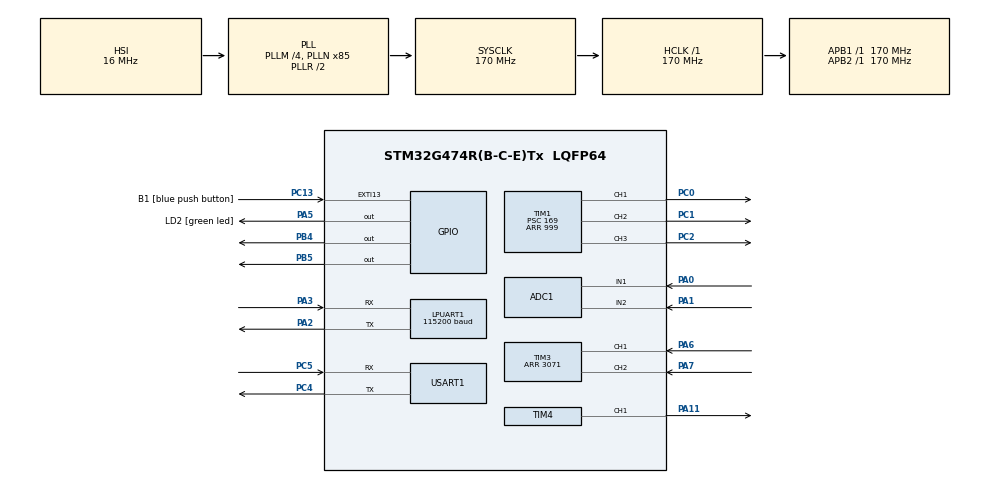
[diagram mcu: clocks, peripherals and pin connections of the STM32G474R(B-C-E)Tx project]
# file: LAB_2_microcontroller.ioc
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ADC1.Channel-0\#ChannelRegularConversion=ADC_CHANNEL_1
ADC1.Channel-1\#ChannelRegularConversion=ADC_CHANNEL_2
ADC1.ContinuousConvMode=ENABLE
ADC1.DMAContinuousRequests=ENABLE
ADC1.NbrOfConversion=2
ADC1.NbrOfConversionFlag=1
ADC1.OffsetNumber-0\#ChannelRegularConversion=ADC_OFFSET_NONE
ADC1.OffsetNumber-1\#ChannelRegularConversion=ADC_OFFSET_NONE
ADC1.Rank-0\#ChannelRegularConversion=1
ADC1.Rank-1\#ChannelRegularConversion=2
ADC1.SamplingTime-0\#ChannelRegularConversion=ADC_SAMPLETIME_640CYCLES_5
ADC1.SamplingTime-1\#ChannelRegularConversion=ADC_SAMPLETIME_640CYCLES_5
ADC1.master=1
ARM.CMSIS-DSP.1.15.0.CMSISJjDSP=Source
ARM.CMSIS.6.0.0.CMSISJjCORE=true
Dma.ADC1.0.Direction=DMA_PERIPH_TO_MEMORY
Dma.ADC1.0.EventEnable=DISABLE
Dma.ADC1.0.Instance=DMA1_Channel1
Dma.ADC1.0.MemDataAlignment=DMA_MDATAALIGN_HALFWORD
Dma.ADC1.0.MemInc=DMA_MINC_ENABLE
Dma.ADC1.0.Mode=DMA_CIRCULAR
Dma.ADC1.0.PeriphDataAlignment=DMA_PDATAALIGN_HALFWORD
Dma.ADC1.0.PeriphInc=DMA_PINC_DISABLE
Dma.ADC1.0.Polarity=HAL_DMAMUX_REQ_GEN_RISING
Dma.ADC1.0.Priority=DMA_PRIORITY_LOW
Dma.ADC1.0.RequestNumber=1
Dma.ADC1.0.SignalID=NONE
Dma.ADC1.0.SyncEnable=DISABLE
Dma.ADC1.0.SyncPolarity=HAL_DMAMUX_SYNC_NO_EVENT
Dma.ADC1.0.SyncRequestNumber=1
Dma.ADC1.0.SyncSignalID=NONE
Dma.LPUART1_RX.1.Direction=DMA_PERIPH_TO_MEMORY
Dma.LPUART1_RX.1.EventEnable=DISABLE
Dma.LPUART1_RX.1.Instance=DMA1_Channel2
Dma.LPUART1_RX.1.MemDataAlignment=DMA_MDATAALIGN_BYTE
Dma.LPUART1_RX.1.MemInc=DMA_MINC_ENABLE
Dma.LPUART1_RX.1.Mode=DMA_CIRCULAR
Dma.LPUART1_RX.1.PeriphDataAlignment=DMA_PDATAALIGN_BYTE
Dma.LPUART1_RX.1.PeriphInc=DMA_PINC_DISABLE
Dma.LPUART1_RX.1.Polarity=HAL_DMAMUX_REQ_GEN_RISING
Dma.LPUART1_RX.1.Priority=DMA_PRIORITY_LOW
Dma.LPUART1_RX.1.RequestNumber=1
Dma.LPUART1_RX.1.SignalID=NONE
Dma.LPUART1_RX.1.SyncEnable=DISABLE
Dma.LPUART1_RX.1.SyncPolarity=HAL_DMAMUX_SYNC_NO_EVENT
Dma.LPUART1_RX.1.SyncRequestNumber=1
Dma.LPUART1_RX.1.SyncSignalID=NONE
Dma.LPUART1_TX.2.Direction=DMA_MEMORY_TO_PERIPH
Dma.LPUART1_TX.2.EventEnable=DISABLE
Dma.LPUART1_TX.2.Instance=DMA1_Channel3
Dma.LPUART1_TX.2.MemDataAlignment=DMA_MDATAALIGN_BYTE
Dma.LPUART1_TX.2.MemInc=DMA_MINC_ENABLE
Dma.LPUART1_TX.2.Mode=DMA_NORMAL
Dma.LPUART1_TX.2.PeriphDataAlignment=DMA_PDATAALIGN_BYTE
Dma.LPUART1_TX.2.PeriphInc=DMA_PINC_DISABLE
Dma.LPUART1_TX.2.Polarity=HAL_DMAMUX_REQ_GEN_RISING
Dma.LPUART1_TX.2.Priority=DMA_PRIORITY_LOW
Dma.LPUART1_TX.2.RequestNumber=1
Dma.LPUART1_TX.2.SignalID=NONE
Dma.LPUART1_TX.2.SyncEnable=DISABLE
Dma.LPUART1_TX.2.SyncPolarity=HAL_DMAMUX_SYNC_NO_EVENT
Dma.LPUART1_TX.2.SyncRequestNumber=1
Dma.LPUART1_TX.2.SyncSignalID=NONE
Dma.Request0=ADC1
Dma.Request1=LPUART1_RX
Dma.Request2=LPUART1_TX
LPUART1.BaudRate=115200
Mcu.Family=STM32G4
Mcu.Name=STM32G474R(B-C-E)Tx
Mcu.Package=LQFP64
NVIC.ADC1_2_IRQn=true\:0\:0\:false\:false\:true\:true\:true\:true
NVIC.DMA1_Channel1_IRQn=true\:0\:0\:false\:false\:true\:false\:true\:true
NVIC.DMA1_Channel2_IRQn=true\:0\:0\:false\:false\:true\:false\:true\:true
NVIC.DMA1_Channel3_IRQn=true\:0\:0\:false\:false\:true\:false\:true\:true
NVIC.EXTI15_10_IRQn=true\:0\:0\:false\:false\:true\:true\:true\:true
NVIC.LPUART1_IRQn=true\:0\:0\:false\:false\:true\:true\:true\:true
NVIC.PriorityGroup=NVIC_PRIORITYGROUP_4
NVIC.TIM4_IRQn=true\:0\:0\:false\:false\:true\:true\:true\:true
NVIC.TIM5_IRQn=true\:0\:0\:false\:false\:true\:true\:true\:true
PA0.Mode=IN1-Single-Ended
PA0.Signal=ADC1_IN1
PA1.Mode=IN2-Single-Ended
PA1.Signal=ADC1_IN2
PA11.Signal=S_TIM4_CH1
PA13.GPIO_Label=T_SWDIO
PA13.Mode=Serial_Wire
PA13.Signal=SYS_JTMS-SWDIO
PA14.GPIO_Label=T_SWCLK
PA14.Mode=Serial_Wire
PA14.Signal=SYS_JTCK-SWCLK
PA2.GPIO_Mode=GPIO_MODE_AF_PP
PA2.GPIO_PuPd=GPIO_NOPULL
PA2.GPIO_Speed=GPIO_SPEED_FREQ_LOW
PA2.Mode=Asynchronous
PA2.Signal=LPUART1_TX
PA3.GPIO_Mode=GPIO_MODE_AF_PP
PA3.GPIO_PuPd=GPIO_NOPULL
PA3.GPIO_Speed=GPIO_SPEED_FREQ_LOW
PA3.Mode=Asynchronous
PA3.Signal=LPUART1_RX
PA5.GPIO_Label=LD2 [green led]
PA5.Signal=GPIO_Output
PA6.Signal=S_TIM3_CH1
PA7.Signal=S_TIM3_CH2
PB3.GPIO_Label=T_SWO
PB3.Signal=SYS_JTDO-SWO
PB4.Signal=GPIO_Output
PB5.Signal=GPIO_Output
PC0.Signal=S_TIM1_CH1
PC1.Signal=S_TIM1_CH2
PC13.GPIO_Label=B1 [blue push button]
PC13.Signal=GPXTI13
PC14-OSC32_IN.Mode=LSE-External-Oscillator
PC14-OSC32_IN.Signal=RCC_OSC32_IN
PC15-OSC32_OUT.Mode=LSE-External-Oscillator
PC15-OSC32_OUT.Signal=RCC_OSC32_OUT
PC2.Signal=S_TIM1_CH3
PC4.Mode=Asynchronous
PC4.Signal=USART1_TX
PC5.Mode=Asynchronous
PC5.Signal=USART1_RX
PF0-OSC_IN.Mode=HSE-External-Oscillator
PF0-OSC_IN.Signal=RCC_OSC_IN
PF1-OSC_OUT.Mode=HSE-External-Oscillator
PF1-OSC_OUT.Signal=RCC_OSC_OUT
ProjectManager.HeapSize=0x200
ProjectManager.StackSize=0x400
ProjectManager.TargetToolchain=STM32CubeIDE
RCC.ADC12Freq_Value=170000000
RCC.ADC345Freq_Value=170000000
RCC.AHBFreq_Value=170000000
RCC.APB1Freq_Value=170000000
RCC.APB1TimFreq_Value=170000000
RCC.APB2Freq_Value=170000000
RCC.APB2TimFreq_Value=170000000
RCC.CortexFreq_Value=170000000
RCC.EXTERNAL_CLOCK_VALUE=12288000
RCC.HCLKFreq_Value=170000000
RCC.HSE_VALUE=24000000
RCC.HSI48_VALUE=48000000
RCC.HSI_VALUE=16000000
RCC.PLLM=RCC_PLLM_DIV4
RCC.PLLN=85
RCC.RTCClockSelection=RCC_RTCCLKSOURCE_LSE
RCC.SYSCLKFreq_VALUE=170000000
RCC.SYSCLKSource=RCC_SYSCLKSOURCE_PLLCLK
RCC.USBFreq_Value=170000000
RCC.VCOOutputFreq_Value=340000000
SH.S_TIM1_CH1.0=TIM1_CH1,PWM Generation1 CH1
SH.S_TIM1_CH2.0=TIM1_CH2,PWM Generation2 CH2
SH.S_TIM1_CH3.0=TIM1_CH3,PWM Generation3 CH3
SH.S_TIM3_CH1.0=TIM3_CH1,Encoder_Interface
SH.S_TIM3_CH2.0=TIM3_CH2,Encoder_Interface
SH.S_TIM4_CH1.0=TIM4_CH1,PWM Generation1 CH1
TIM1.Channel-PWM\ Generation1\ CH1=TIM_CHANNEL_1
TIM1.Channel-PWM\ Generation2\ CH2=TIM_CHANNEL_2
TIM1.Channel-PWM\ Generation3\ CH3=TIM_CHANNEL_3
TIM1.PeriodNoDither=999
TIM1.Prescaler=169
TIM2.Prescaler=169
TIM3.EncoderMode=TIM_ENCODERMODE_TI12
TIM3.PeriodNoDither=3071
TIM4.Channel-PWM\ Generation1\ CH1=TIM_CHANNEL_1
TIM4.PeriodNoDither=32675
TIM4.Prescaler=169
TIM5.PeriodNoDither=999
TIM5.Prescaler=169
USART1.VirtualMode-Asynchronous=VM_ASYNC
VP_ARM.CMSIS-DSP_VS_CMSISJjDSP_1.15.0_1.15.0.Mode=CMSISJjDSP
VP_ARM.CMSIS_VS_CMSISJjCORE_6.0.0_6.0.0.Mode=CMSISJjCORE
VP_SYS_VS_DBSignals.Mode=DisableDeadBatterySignals
VP_TIM1_VS_ClockSourceINT.Mode=Internal
VP_TIM2_VS_ClockSourceINT.Mode=Internal
VP_TIM4_VS_ClockSourceINT.Mode=Internal
VP_TIM5_VS_ClockSourceINT.Mode=Internal
board=NUCLEO-G474RE

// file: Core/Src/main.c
/* USER CODE BEGIN Header */
/**
  ******************************************************************************
  * @file           : main.c
  * @brief          : Main program body
  ******************************************************************************
  * @attention
  *
  * Copyright (c) 2024 STMicroelectronics.
  * All rights reserved.
  *
  * This software is licensed under terms that can be found in the LICENSE file
  * in the root directory of this software component.
  * If no LICENSE file comes with this software, it is provided AS-IS.
  *
  ******************************************************************************
  */
/* USER CODE END Header */
#include "main.h"

/* USER CODE BEGIN Includes */

#include "arm_math.h"
#include "stdio.h"
#include "string.h"

/* USER CODE END Includes */

ADC_HandleTypeDef hadc1;
DMA_HandleTypeDef hdma_adc1;

UART_HandleTypeDef hlpuart1;
UART_HandleTypeDef huart1;
DMA_HandleTypeDef hdma_lpuart1_rx;
DMA_HandleTypeDef hdma_lpuart1_tx;

TIM_HandleTypeDef htim1;
TIM_HandleTypeDef htim2;
TIM_HandleTypeDef htim3;
TIM_HandleTypeDef htim4;
TIM_HandleTypeDef htim5;

/* USER CODE BEGIN PV */
uint16_t mode = 1;
uint16_t ADC_RawRead[10]={0};
uint32_t avg_adc1;
uint32_t avg_adc2;
uint32_t avg_adc_part2;
uint32_t QEIReadRaw;
float angle_part2;
float set_pos_part2;
//struct _ADC_tag {
//ADC_ChannelConfTypeDef Config;
//uint16_t data;
//};
//uint8_t Current_Channel = 0;
//
//struct _ADC_tag ADC1_Channel[2] = {
//{
//.Config.Channel = ADC_CHANNEL_1,
//.Config.Rank = ADC_REGULAR_RANK_1,
//.Config.SamplingTime = ADC_SAMPLETIME_640CYCLES_5,
//.Config.SingleDiff = ADC_SINGLE_ENDED,
//.Config.OffsetNumber = ADC_OFFSET_NONE,
//.Config.Offset = 0,
//.data = 0
//},
//{
//.Config.Channel = ADC_CHANNEL_2,
//.Config.Rank = ADC_REGULAR_RANK_1,
//.Config.SamplingTime = ADC_SAMPLETIME_640CYCLES_5,
//.Config.SingleDiff = ADC_SINGLE_ENDED,
//.Config.OffsetNumber = ADC_OFFSET_NONE,
//.Config.Offset = 0,
//.data = 0
//}
//};

arm_pid_instance_f32 PID = {0};

float ADCReadRaw;
float ADCReadOld;

float pos;
float set_pos;

float Vfeedback = 0;
float Vfeedback2 = 0;
float Error_angle = 0;

float setSpd = 0;

///////UART///////

uint8_t ADCgo[4];
int8_t RxBuffer[10];
uint64_t _micros = 0;
uint64_t CurrentTime = 0;
uint64_t test = 0;
uint64_t CurrentTime ;
uint16_t avg_adc11;
int16_t Error = 0;
uint16_t z = 0;
int n =0;

/* USER CODE END PV */

void SystemClock_Config(void);
static void MX_GPIO_Init(void);
static void MX_DMA_Init(void);
static void MX_LPUART1_UART_Init(void);
static void MX_ADC1_Init(void);
static void MX_TIM5_Init(void);
static void MX_TIM1_Init(void);
static void MX_TIM3_Init(void);
static void MX_TIM2_Init(void);
static void MX_TIM4_Init(void);
static void MX_USART1_UART_Init(void);
/* USER CODE BEGIN PFP */
void led2();
void LAB2PART2();
uint64_t micros();
//void LAB2PART1();
//void Average_ADC_Value();
/* USER CODE END PFP */

int main(void)
{

  /* MCU Configuration--------------------------------------------------------*/

  /* Reset of all peripherals, Initializes the Flash interface and the Systick. */
  HAL_Init();

  /* Configure the system clock */
  SystemClock_Config();

  /* Initialize all configured peripherals */
  MX_GPIO_Init();
  MX_DMA_Init();
  MX_LPUART1_UART_Init();
  MX_ADC1_Init();
  MX_TIM5_Init();
  MX_TIM1_Init();
  MX_TIM3_Init();
  MX_TIM2_Init();
  MX_TIM4_Init();
  MX_USART1_UART_Init();
  /* USER CODE BEGIN 2 */
  HAL_TIM_Encoder_Start(&htim3,TIM_CHANNEL_ALL);
  HAL_TIM_Base_Start_IT(&htim5);
  HAL_TIM_PWM_Start(&htim1, TIM_CHANNEL_1);
  HAL_TIM_PWM_Start(&htim4, TIM_CHANNEL_1);
//  HAL_TIM_PWM_Start(&htim2, TIM_CHANNEL_2);
  HAL_ADCEx_Calibration_Start(&hadc1, ADC_SINGLE_ENDED);
//  HAL_ADC_Start_IT(&hadc1);
  HAL_ADC_Start_DMA(&hadc1, ADC_RawRead, 10);
  HAL_TIM_Base_Start_IT(&htim2);

  PID.Kp = 0.001;
  PID.Ki = 0;
  PID.Kd = 0;
  arm_pid_init_f32(&PID, 0);
  HAL_TIM_Base_Start(&htim1);
  HAL_TIM_PWM_Start(&htim1, TIM_CHANNEL_2);
  HAL_TIM_PWM_Start(&htim1, TIM_CHANNEL_3);
  UARTInterruptConfig();
//  UARTDMAConfig();
//  HAL_DAC_Start(&hdac1, DAC_CHANNEL_1);

  /* USER CODE END 2 */

  /* Infinite loop */
  while (1)
  {

    /* USER CODE BEGIN 3 */
	  QEIReadRaw = __HAL_TIM_GET_COUNTER(&htim3);
	  Average_ADC_Value();
	  led2();
	  CurrentTime = micros();
	  static uint64_t TimeStamp = 0;
//	  if(CurrentTime >= TimeStamp)
//	  {
//		  TimeStamp = CurrentTime + 5000;// 200 HZ
//		  Adc_to_Matlab();
//		  Error = (uint16_t)(RxBuffer[2]<< 8) + (uint8_t)(RxBuffer[1]);
//		  Error_angle = (Error/32676.0)*360.0;
//	  }

	  if(mode == 1){
		  LAB2PART1();
	  }
	  else if(mode == 2){
		  LAB2PART2();
	  }
	  else if(mode == 3){
		  __HAL_TIM_SET_COMPARE(&htim1, TIM_CHANNEL_2, 0);
		  __HAL_TIM_SET_COMPARE(&htim1, TIM_CHANNEL_3, 0);
		  if(HAL_GetTick() >= TimeStamp)
		  	  	  {
		  	  		  TimeStamp = HAL_GetTick() + 5;// 200 HZ
		  	  		  	 avg_adc11= avg_adc2;
		  	  			ADCgo[0] = 0x69;
		  	  			ADCgo[1] =(uint8_t)(avg_adc11& 0xFF);//avg_adc11/100;
		  	  			ADCgo[2] =(uint8_t)((avg_adc11>>8)& 0xFF);//avg_adc11%100;
		  	  			ADCgo[3] = 0x0A;
		  	  			for (int i =0; i< sizeof(ADCgo);i++)
		  	  			{
		  	  				HAL_UART_Transmit(&hlpuart1, &ADCgo[i], 1,5);
		  	  			}

		  	  	  }
		  Error = (uint16_t)(RxBuffer[2]<< 8) + (uint8_t)(RxBuffer[1]);
		  Error_angle = (Error/32676.0)*360.0;
		  LAB2PART3();
	  }

//	  uint64_t test2 = 0;
//	  test = micros();
//	  test2 = _micros;
	  //////UART/////

//	  static uint64_t TimeStamp = 0;
//	  uint64_t CurrentTime = micros();

//		  UARTDMAConfig();
	  }

  /* USER CODE END 3 */
}

void SystemClock_Config(void)
{
  RCC_OscInitTypeDef RCC_OscInitStruct = {0};
  RCC_ClkInitTypeDef RCC_ClkInitStruct = {0};

  /** Configure the main internal regulator output voltage
  */
  HAL_PWREx_ControlVoltageScaling(PWR_REGULATOR_VOLTAGE_SCALE1_BOOST);

  /** Initializes the RCC Oscillators according to the specified parameters
  * in the RCC_OscInitTypeDef structure.
  */
  RCC_OscInitStruct.OscillatorType = RCC_OSCILLATORTYPE_HSI;
  RCC_OscInitStruct.HSIState = RCC_HSI_ON;
  RCC_OscInitStruct.HSICalibrationValue = RCC_HSICALIBRATION_DEFAULT;
  RCC_OscInitStruct.PLL.PLLState = RCC_PLL_ON;
  RCC_OscInitStruct.PLL.PLLSource = RCC_PLLSOURCE_HSI;
  RCC_OscInitStruct.PLL.PLLM = RCC_PLLM_DIV4;
  RCC_OscInitStruct.PLL.PLLN = 85;
  RCC_OscInitStruct.PLL.PLLP = RCC_PLLP_DIV2;
  RCC_OscInitStruct.PLL.PLLQ = RCC_PLLQ_DIV2;
  RCC_OscInitStruct.PLL.PLLR = RCC_PLLR_DIV2;
  if (HAL_RCC_OscConfig(&RCC_OscInitStruct) != HAL_OK)
  {
    Error_Handler();
  }

  /** Initializes the CPU, AHB and APB buses clocks
  */
  RCC_ClkInitStruct.ClockType = RCC_CLOCKTYPE_HCLK|RCC_CLOCKTYPE_SYSCLK
                              |RCC_CLOCKTYPE_PCLK1|RCC_CLOCKTYPE_PCLK2;
  RCC_ClkInitStruct.SYSCLKSource = RCC_SYSCLKSOURCE_PLLCLK;
  RCC_ClkInitStruct.AHBCLKDivider = RCC_SYSCLK_DIV1;
  RCC_ClkInitStruct.APB1CLKDivider = RCC_HCLK_DIV1;
  RCC_ClkInitStruct.APB2CLKDivider = RCC_HCLK_DIV1;

  if (HAL_RCC_ClockConfig(&RCC_ClkInitStruct, FLASH_LATENCY_4) != HAL_OK)
  {
    Error_Handler();
  }
}

static void MX_ADC1_Init(void)
{

  ADC_MultiModeTypeDef multimode = {0};
  ADC_ChannelConfTypeDef sConfig = {0};

  /** Common config
  */
  hadc1.Instance = ADC1;
  hadc1.Init.ClockPrescaler = ADC_CLOCK_SYNC_PCLK_DIV4;
  hadc1.Init.Resolution = ADC_RESOLUTION_12B;
  hadc1.Init.DataAlign = ADC_DATAALIGN_RIGHT;
  hadc1.Init.GainCompensation = 0;
  hadc1.Init.ScanConvMode = ADC_SCAN_ENABLE;
  hadc1.Init.EOCSelection = ADC_EOC_SINGLE_CONV;
  hadc1.Init.LowPowerAutoWait = DISABLE;
  hadc1.Init.ContinuousConvMode = ENABLE;
  hadc1.Init.NbrOfConversion = 2;
  hadc1.Init.DiscontinuousConvMode = DISABLE;
  hadc1.Init.ExternalTrigConv = ADC_SOFTWARE_START;
  hadc1.Init.ExternalTrigConvEdge = ADC_EXTERNALTRIGCONVEDGE_NONE;
  hadc1.Init.DMAContinuousRequests = ENABLE;
  hadc1.Init.Overrun = ADC_OVR_DATA_PRESERVED;
  hadc1.Init.OversamplingMode = DISABLE;
  if (HAL_ADC_Init(&hadc1) != HAL_OK)
  {
    Error_Handler();
  }

  /** Configure the ADC multi-mode
  */
  multimode.Mode = ADC_MODE_INDEPENDENT;
  if (HAL_ADCEx_MultiModeConfigChannel(&hadc1, &multimode) != HAL_OK)
  {
    Error_Handler();
  }

  /** Configure Regular Channel
  */
  sConfig.Channel = ADC_CHANNEL_1;
  sConfig.Rank = ADC_REGULAR_RANK_1;
  sConfig.SamplingTime = ADC_SAMPLETIME_640CYCLES_5;
  sConfig.SingleDiff = ADC_SINGLE_ENDED;
  sConfig.OffsetNumber = ADC_OFFSET_NONE;
  sConfig.Offset = 0;
  if (HAL_ADC_ConfigChannel(&hadc1, &sConfig) != HAL_OK)
  {
    Error_Handler();
  }

  /** Configure Regular Channel
  */
  sConfig.Channel = ADC_CHANNEL_2;
  sConfig.Rank = ADC_REGULAR_RANK_2;
  if (HAL_ADC_ConfigChannel(&hadc1, &sConfig) != HAL_OK)
  {
    Error_Handler();
  }

}

static void MX_LPUART1_UART_Init(void)
{

  hlpuart1.Instance = LPUART1;
  hlpuart1.Init.BaudRate = 115200;
  hlpuart1.Init.WordLength = UART_WORDLENGTH_8B;
  hlpuart1.Init.StopBits = UART_STOPBITS_1;
  hlpuart1.Init.Parity = UART_PARITY_NONE;
  hlpuart1.Init.Mode = UART_MODE_TX_RX;
  hlpuart1.Init.HwFlowCtl = UART_HWCONTROL_NONE;
  hlpuart1.Init.OneBitSampling = UART_ONE_BIT_SAMPLE_DISABLE;
  hlpuart1.Init.ClockPrescaler = UART_PRESCALER_DIV1;
  hlpuart1.AdvancedInit.AdvFeatureInit = UART_ADVFEATURE_NO_INIT;
  if (HAL_UART_Init(&hlpuart1) != HAL_OK)
  {
    Error_Handler();
  }
  if (HAL_UARTEx_SetTxFifoThreshold(&hlpuart1, UART_TXFIFO_THRESHOLD_1_8) != HAL_OK)
  {
    Error_Handler();
  }
  if (HAL_UARTEx_SetRxFifoThreshold(&hlpuart1, UART_RXFIFO_THRESHOLD_1_8) != HAL_OK)
  {
    Error_Handler();
  }
  if (HAL_UARTEx_DisableFifoMode(&hlpuart1) != HAL_OK)
  {
    Error_Handler();
  }

}

static void MX_USART1_UART_Init(void)
{

  huart1.Instance = USART1;
  huart1.Init.BaudRate = 115200;
  huart1.Init.WordLength = UART_WORDLENGTH_8B;
  huart1.Init.StopBits = UART_STOPBITS_1;
  huart1.Init.Parity = UART_PARITY_NONE;
  huart1.Init.Mode = UART_MODE_TX_RX;
  huart1.Init.HwFlowCtl = UART_HWCONTROL_NONE;
  huart1.Init.OverSampling = UART_OVERSAMPLING_16;
  huart1.Init.OneBitSampling = UART_ONE_BIT_SAMPLE_DISABLE;
  huart1.Init.ClockPrescaler = UART_PRESCALER_DIV1;
  huart1.AdvancedInit.AdvFeatureInit = UART_ADVFEATURE_NO_INIT;
  if (HAL_UART_Init(&huart1) != HAL_OK)
  {
    Error_Handler();
  }
  if (HAL_UARTEx_SetTxFifoThreshold(&huart1, UART_TXFIFO_THRESHOLD_1_8) != HAL_OK)
  {
    Error_Handler();
  }
  if (HAL_UARTEx_SetRxFifoThreshold(&huart1, UART_RXFIFO_THRESHOLD_1_8) != HAL_OK)
  {
    Error_Handler();
  }
  if (HAL_UARTEx_DisableFifoMode(&huart1) != HAL_OK)
  {
    Error_Handler();
  }

}

static void MX_TIM1_Init(void)
{

  TIM_ClockConfigTypeDef sClockSourceConfig = {0};
  TIM_MasterConfigTypeDef sMasterConfig = {0};
  TIM_OC_InitTypeDef sConfigOC = {0};
  TIM_BreakDeadTimeConfigTypeDef sBreakDeadTimeConfig = {0};

  htim1.Instance = TIM1;
  htim1.Init.Prescaler = 169;
  htim1.Init.CounterMode = TIM_COUNTERMODE_UP;
  htim1.Init.Period = 999;
  htim1.Init.ClockDivision = TIM_CLOCKDIVISION_DIV1;
  htim1.Init.RepetitionCounter = 0;
  htim1.Init.AutoReloadPreload = TIM_AUTORELOAD_PRELOAD_DISABLE;
  if (HAL_TIM_Base_Init(&htim1) != HAL_OK)
  {
    Error_Handler();
  }
  sClockSourceConfig.ClockSource = TIM_CLOCKSOURCE_INTERNAL;
  if (HAL_TIM_ConfigClockSource(&htim1, &sClockSourceConfig) != HAL_OK)
  {
    Error_Handler();
  }
  if (HAL_TIM_PWM_Init(&htim1) != HAL_OK)
  {
    Error_Handler();
  }
  sMasterConfig.MasterOutputTrigger = TIM_TRGO_RESET;
  sMasterConfig.MasterOutputTrigger2 = TIM_TRGO2_RESET;
  sMasterConfig.MasterSlaveMode = TIM_MASTERSLAVEMODE_DISABLE;
  if (HAL_TIMEx_MasterConfigSynchronization(&htim1, &sMasterConfig) != HAL_OK)
  {
    Error_Handler();
  }
  sConfigOC.OCMode = TIM_OCMODE_PWM1;
  sConfigOC.Pulse = 0;
  sConfigOC.OCPolarity = TIM_OCPOLARITY_HIGH;
  sConfigOC.OCNPolarity = TIM_OCNPOLARITY_HIGH;
  sConfigOC.OCFastMode = TIM_OCFAST_DISABLE;
  sConfigOC.OCIdleState = TIM_OCIDLESTATE_RESET;
  sConfigOC.OCNIdleState = TIM_OCNIDLESTATE_RESET;
  if (HAL_TIM_PWM_ConfigChannel(&htim1, &sConfigOC, TIM_CHANNEL_1) != HAL_OK)
  {
    Error_Handler();
  }
  if (HAL_TIM_PWM_ConfigChannel(&htim1, &sConfigOC, TIM_CHANNEL_2) != HAL_OK)
  {
    Error_Handler();
  }
  if (HAL_TIM_PWM_ConfigChannel(&htim1, &sConfigOC, TIM_CHANNEL_3) != HAL_OK)
  {
    Error_Handler();
  }
  sBreakDeadTimeConfig.OffStateRunMode = TIM_OSSR_DISABLE;
  sBreakDeadTimeConfig.OffStateIDLEMode = TIM_OSSI_DISABLE;
  sBreakDeadTimeConfig.LockLevel = TIM_LOCKLEVEL_OFF;
  sBreakDeadTimeConfig.DeadTime = 0;
  sBreakDeadTimeConfig.BreakState = TIM_BREAK_DISABLE;
  sBreakDeadTimeConfig.BreakPolarity = TIM_BREAKPOLARITY_HIGH;
  sBreakDeadTimeConfig.BreakFilter = 0;
  sBreakDeadTimeConfig.BreakAFMode = TIM_BREAK_AFMODE_INPUT;
  sBreakDeadTimeConfig.Break2State = TIM_BREAK2_DISABLE;
  sBreakDeadTimeConfig.Break2Polarity = TIM_BREAK2POLARITY_HIGH;
  sBreakDeadTimeConfig.Break2Filter = 0;
  sBreakDeadTimeConfig.Break2AFMode = TIM_BREAK_AFMODE_INPUT;
  sBreakDeadTimeConfig.AutomaticOutput = TIM_AUTOMATICOUTPUT_DISABLE;
  if (HAL_TIMEx_ConfigBreakDeadTime(&htim1, &sBreakDeadTimeConfig) != HAL_OK)
  {
    Error_Handler();
  }
  HAL_TIM_MspPostInit(&htim1);

}

static void MX_TIM2_Init(void)
{

  TIM_ClockConfigTypeDef sClockSourceConfig = {0};
  TIM_MasterConfigTypeDef sMasterConfig = {0};

  htim2.Instance = TIM2;
  htim2.Init.Prescaler = 169;
  htim2.Init.CounterMode = TIM_COUNTERMODE_UP;
  htim2.Init.Period = 4.294967295E9;
  htim2.Init.ClockDivision = TIM_CLOCKDIVISION_DIV1;
  htim2.Init.AutoReloadPreload = TIM_AUTORELOAD_PRELOAD_DISABLE;
  if (HAL_TIM_Base_Init(&htim2) != HAL_OK)
  {
    Error_Handler();
  }
  sClockSourceConfig.ClockSource = TIM_CLOCKSOURCE_INTERNAL;
  if (HAL_TIM_ConfigClockSource(&htim2, &sClockSourceConfig) != HAL_OK)
  {
    Error_Handler();
  }
  sMasterConfig.MasterOutputTrigger = TIM_TRGO_RESET;
  sMasterConfig.MasterSlaveMode = TIM_MASTERSLAVEMODE_DISABLE;
  if (HAL_TIMEx_MasterConfigSynchronization(&htim2, &sMasterConfig) != HAL_OK)
  {
    Error_Handler();
  }

}

static void MX_TIM3_Init(void)
{

  TIM_Encoder_InitTypeDef sConfig = {0};
  TIM_MasterConfigTypeDef sMasterConfig = {0};

  htim3.Instance = TIM3;
  htim3.Init.Prescaler = 0;
  htim3.Init.CounterMode = TIM_COUNTERMODE_UP;
  htim3.Init.Period = 3071;
  htim3.Init.ClockDivision = TIM_CLOCKDIVISION_DIV1;
  htim3.Init.AutoReloadPreload = TIM_AUTORELOAD_PRELOAD_DISABLE;
  sConfig.EncoderMode = TIM_ENCODERMODE_TI12;
  sConfig.IC1Polarity = TIM_ICPOLARITY_RISING;
  sConfig.IC1Selection = TIM_ICSELECTION_DIRECTTI;
  sConfig.IC1Prescaler = TIM_ICPSC_DIV1;
  sConfig.IC1Filter = 0;
  sConfig.IC2Polarity = TIM_ICPOLARITY_RISING;
  sConfig.IC2Selection = TIM_ICSELECTION_DIRECTTI;
  sConfig.IC2Prescaler = TIM_ICPSC_DIV1;
  sConfig.IC2Filter = 0;
  if (HAL_TIM_Encoder_Init(&htim3, &sConfig) != HAL_OK)
  {
    Error_Handler();
  }
  sMasterConfig.MasterOutputTrigger = TIM_TRGO_RESET;
  sMasterConfig.MasterSlaveMode = TIM_MASTERSLAVEMODE_DISABLE;
  if (HAL_TIMEx_MasterConfigSynchronization(&htim3, &sMasterConfig) != HAL_OK)
  {
    Error_Handler();
  }

}

static void MX_TIM4_Init(void)
{

  TIM_ClockConfigTypeDef sClockSourceConfig = {0};
  TIM_MasterConfigTypeDef sMasterConfig = {0};
  TIM_OC_InitTypeDef sConfigOC = {0};

  htim4.Instance = TIM4;
  htim4.Init.Prescaler = 169;
  htim4.Init.CounterMode = TIM_COUNTERMODE_UP;
  htim4.Init.Period = 32675;
  htim4.Init.ClockDivision = TIM_CLOCKDIVISION_DIV1;
  htim4.Init.AutoReloadPreload = TIM_AUTORELOAD_PRELOAD_DISABLE;
  if (HAL_TIM_Base_Init(&htim4) != HAL_OK)
  {
    Error_Handler();
  }
  sClockSourceConfig.ClockSource = TIM_CLOCKSOURCE_INTERNAL;
  if (HAL_TIM_ConfigClockSource(&htim4, &sClockSourceConfig) != HAL_OK)
  {
    Error_Handler();
  }
  if (HAL_TIM_PWM_Init(&htim4) != HAL_OK)
  {
    Error_Handler();
  }
  sMasterConfig.MasterOutputTrigger = TIM_TRGO_RESET;
  sMasterConfig.MasterSlaveMode = TIM_MASTERSLAVEMODE_DISABLE;
  if (HAL_TIMEx_MasterConfigSynchronization(&htim4, &sMasterConfig) != HAL_OK)
  {
    Error_Handler();
  }
  sConfigOC.OCMode = TIM_OCMODE_PWM1;
  sConfigOC.Pulse = 0;
  sConfigOC.OCPolarity = TIM_OCPOLARITY_HIGH;
  sConfigOC.OCFastMode = TIM_OCFAST_DISABLE;
  if (HAL_TIM_PWM_ConfigChannel(&htim4, &sConfigOC, TIM_CHANNEL_1) != HAL_OK)
  {
    Error_Handler();
  }
  HAL_TIM_MspPostInit(&htim4);

}

static void MX_TIM5_Init(void)
{

  TIM_ClockConfigTypeDef sClockSourceConfig = {0};
  TIM_MasterConfigTypeDef sMasterConfig = {0};

  htim5.Instance = TIM5;
  htim5.Init.Prescaler = 169;
  htim5.Init.CounterMode = TIM_COUNTERMODE_UP;
  htim5.Init.Period = 999;
  htim5.Init.ClockDivision = TIM_CLOCKDIVISION_DIV1;
  htim5.Init.AutoReloadPreload = TIM_AUTORELOAD_PRELOAD_DISABLE;
  if (HAL_TIM_Base_Init(&htim5) != HAL_OK)
  {
    Error_Handler();
  }
  sClockSourceConfig.ClockSource = TIM_CLOCKSOURCE_INTERNAL;
  if (HAL_TIM_ConfigClockSource(&htim5, &sClockSourceConfig) != HAL_OK)
  {
    Error_Handler();
  }
  sMasterConfig.MasterOutputTrigger = TIM_TRGO_RESET;
  sMasterConfig.MasterSlaveMode = TIM_MASTERSLAVEMODE_DISABLE;
  if (HAL_TIMEx_MasterConfigSynchronization(&htim5, &sMasterConfig) != HAL_OK)
  {
    Error_Handler();
  }

}

static void MX_DMA_Init(void)
{

  /* DMA controller clock enable */
  __HAL_RCC_DMAMUX1_CLK_ENABLE();
  __HAL_RCC_DMA1_CLK_ENABLE();

  /* DMA interrupt init */
  /* DMA1_Channel1_IRQn interrupt configuration */
  HAL_NVIC_SetPriority(DMA1_Channel1_IRQn, 0, 0);
  HAL_NVIC_EnableIRQ(DMA1_Channel1_IRQn);
  /* DMA1_Channel2_IRQn interrupt configuration */
  HAL_NVIC_SetPriority(DMA1_Channel2_IRQn, 0, 0);
  HAL_NVIC_EnableIRQ(DMA1_Channel2_IRQn);
  /* DMA1_Channel3_IRQn interrupt configuration */
  HAL_NVIC_SetPriority(DMA1_Channel3_IRQn, 0, 0);
  HAL_NVIC_EnableIRQ(DMA1_Channel3_IRQn);

}

static void MX_GPIO_Init(void)
{
  GPIO_InitTypeDef GPIO_InitStruct = {0};

  /* GPIO Ports Clock Enable */
  __HAL_RCC_GPIOC_CLK_ENABLE();
  __HAL_RCC_GPIOF_CLK_ENABLE();
  __HAL_RCC_GPIOA_CLK_ENABLE();
  __HAL_RCC_GPIOB_CLK_ENABLE();

  /*Configure GPIO pin Output Level */
  HAL_GPIO_WritePin(LD2_GPIO_Port, LD2_Pin, GPIO_PIN_RESET);

  /*Configure GPIO pin Output Level */
  HAL_GPIO_WritePin(GPIOB, GPIO_PIN_4|GPIO_PIN_5, GPIO_PIN_RESET);

  /*Configure GPIO pin : B1_Pin */
  GPIO_InitStruct.Pin = B1_Pin;
  GPIO_InitStruct.Mode = GPIO_MODE_IT_RISING;
  GPIO_InitStruct.Pull = GPIO_NOPULL;
  HAL_GPIO_Init(B1_GPIO_Port, &GPIO_InitStruct);

  /*Configure GPIO pin : LD2_Pin */
  GPIO_InitStruct.Pin = LD2_Pin;
  GPIO_InitStruct.Mode = GPIO_MODE_OUTPUT_PP;
  GPIO_InitStruct.Pull = GPIO_NOPULL;
  GPIO_InitStruct.Speed = GPIO_SPEED_FREQ_LOW;
  HAL_GPIO_Init(LD2_GPIO_Port, &GPIO_InitStruct);

  /*Configure GPIO pins : PB4 PB5 */
  GPIO_InitStruct.Pin = GPIO_PIN_4|GPIO_PIN_5;
  GPIO_InitStruct.Mode = GPIO_MODE_OUTPUT_PP;
  GPIO_InitStruct.Pull = GPIO_NOPULL;
  GPIO_InitStruct.Speed = GPIO_SPEED_FREQ_LOW;
  HAL_GPIO_Init(GPIOB, &GPIO_InitStruct);

  /* EXTI interrupt init*/
  HAL_NVIC_SetPriority(EXTI15_10_IRQn, 0, 0);
  HAL_NVIC_EnableIRQ(EXTI15_10_IRQn);

}

/* USER CODE BEGIN 4 */
void HAL_GPIO_EXTI_Callback(uint16_t GPIO_Pin)
{
	if(GPIO_Pin == GPIO_PIN_13){
		if (mode == 1){
				mode = 2;

			}
		else if (mode == 2){
				mode = 3;

		}
		else {
				mode = 1;

			}
		}
}
void led2(){
	if (mode == 1){
			HAL_GPIO_WritePin(GPIOA, GPIO_PIN_5,GPIO_PIN_SET);
			}

	else if (mode == 2){
		HAL_GPIO_WritePin(GPIOA, GPIO_PIN_5,GPIO_PIN_RESET);

	}
	else if (mode == 3) {
		HAL_GPIO_TogglePin(GPIOA, GPIO_PIN_5);
		HAL_Delay(500);
	}
}
void LAB2PART1(){
	if(Vfeedback > 1){
		 		  setSpd = (Vfeedback/360)*600+400;
		 		  if(Vfeedback < 180){
		 			  HAL_GPIO_WritePin(GPIOB, GPIO_PIN_4, SET);
		 			  HAL_GPIO_WritePin(GPIOB, GPIO_PIN_5, RESET);
		 			  __HAL_TIM_SET_COMPARE(&htim1, TIM_CHANNEL_1, setSpd);
		 		  }
		 		  if(Vfeedback > 180){
		 			  HAL_GPIO_WritePin(GPIOB, GPIO_PIN_4, RESET);
		 			  HAL_GPIO_WritePin(GPIOB, GPIO_PIN_5, SET);
		 			  __HAL_TIM_SET_COMPARE(&htim1, TIM_CHANNEL_1, setSpd);
		 		  }
		 	  }
	if(Vfeedback < -1){
		 		  setSpd = (-Vfeedback/360)*600+400;
		 		  if(Vfeedback < -180){
		 			  HAL_GPIO_WritePin(GPIOB, GPIO_PIN_4, SET);
		 			  HAL_GPIO_WritePin(GPIOB, GPIO_PIN_5, RESET);
		 			  __HAL_TIM_SET_COMPARE(&htim1, TIM_CHANNEL_1, setSpd);
		 		  }
		 		  if(Vfeedback > -180){
		 			  HAL_GPIO_WritePin(GPIOB, GPIO_PIN_4, RESET);
		 			  HAL_GPIO_WritePin(GPIOB, GPIO_PIN_5, SET);
		 			  __HAL_TIM_SET_COMPARE(&htim1, TIM_CHANNEL_1, setSpd);
		 		  }
		 	  }
	if(Vfeedback < 1 && Vfeedback > -1)
		 	  {
		 		  setSpd = 0;
		 		  HAL_GPIO_WritePin(GPIOB, GPIO_PIN_4, RESET);
		 		  HAL_GPIO_WritePin(GPIOB, GPIO_PIN_5, RESET);
		 		  __HAL_TIM_SET_COMPARE(&htim1, TIM_CHANNEL_1, setSpd);
		 	  }
}
void LAB2PART2(){
	HAL_GPIO_WritePin(GPIOB, GPIO_PIN_4, RESET);
	HAL_GPIO_WritePin(GPIOB, GPIO_PIN_5, RESET);
	avg_adc_part2=avg_adc1;
	if(Vfeedback2 > 1){
		 		  setSpd = (Vfeedback2/360)*(500-100)+100;
		 		  if(Vfeedback2 < 180){
		 			 __HAL_TIM_SET_COMPARE(&htim1, TIM_CHANNEL_2,  setSpd);
		 			 __HAL_TIM_SET_COMPARE(&htim1, TIM_CHANNEL_3,0);
		 		  }
		 		  if(Vfeedback2 > 180){
		 			 __HAL_TIM_SET_COMPARE(&htim1, TIM_CHANNEL_2, 0);
		 			 __HAL_TIM_SET_COMPARE(&htim1, TIM_CHANNEL_3, setSpd);
		 		  }
		 	  }
	if(Vfeedback2 < -1){
		 		  setSpd = (-Vfeedback2/360)*(500-100)+100;
		 		  if(Vfeedback2 < -180){
		 			 __HAL_TIM_SET_COMPARE(&htim1, TIM_CHANNEL_2,  setSpd);
		 			 __HAL_TIM_SET_COMPARE(&htim1, TIM_CHANNEL_3,0);
		 		  }
		 		  if(Vfeedback2 > -180){
		 			 __HAL_TIM_SET_COMPARE(&htim1, TIM_CHANNEL_2, 0);
		 			 __HAL_TIM_SET_COMPARE(&htim1, TIM_CHANNEL_3, setSpd);
		 		  }
		 	  }
	if(Vfeedback2 < 1 && Vfeedback2 > -1)
		 	  {
		 		  setSpd = 0;
		 		 __HAL_TIM_SET_COMPARE(&htim1, TIM_CHANNEL_2, 0);
		 		 __HAL_TIM_SET_COMPARE(&htim1, TIM_CHANNEL_3, 0);
		 	  }
}

void LAB2PART3(){
	HAL_UART_Receive(&hlpuart1, RxBuffer, 10,5);
	if(Error_angle ==0)
			 	  {
			 		  setSpd = 0;
			 		  HAL_GPIO_WritePin(GPIOB, GPIO_PIN_4, RESET);
			 		  HAL_GPIO_WritePin(GPIOB, GPIO_PIN_5, RESET);
			 		 __HAL_TIM_SET_COMPARE(&htim4, TIM_CHANNEL_1, 0);
			 		 n=1;
			 	  }
	else if(Error_angle > 1)
	{
//		 		  setSpd = ((Error_angle/360)*800)+200;
//		 		  if(Error < 16000){

		 			  HAL_GPIO_WritePin(GPIOB, GPIO_PIN_4, RESET);
		 			  HAL_GPIO_WritePin(GPIOB, GPIO_PIN_5, SET);
		 			 __HAL_TIM_SET_COMPARE(&htim4, TIM_CHANNEL_1, Error);
//		 		  }
//		 		  if(Error > 16000){
//		 			  HAL_GPIO_WritePin(GPIOB, GPIO_PIN_4, RESET);
//		 			  HAL_GPIO_WritePin(GPIOB, GPIO_PIN_5, SET);
//		 			 __HAL_TIM_SET_COMPARE(&htim1, TIM_CHANNEL_1, Error/4);
//		 		  }
		 	  }
	else if(Error_angle < -1 ){

//		 		  setSpd = -((Error_angle/360)*800)+200;
//		 		  if(Error < -16000){
		 			  HAL_GPIO_WritePin(GPIOB, GPIO_PIN_4, SET);
		 			  HAL_GPIO_WritePin(GPIOB, GPIO_PIN_5, RESET);
		 			 __HAL_TIM_SET_COMPARE(&htim4, TIM_CHANNEL_1, -Error);
//		 		  }
//		 		  if(Error > -16000){
//		 			  HAL_GPIO_WritePin(GPIOB, GPIO_PIN_4, SET);
//		 			  HAL_GPIO_WritePin(GPIOB, GPIO_PIN_5, RESET);
//		 			 __HAL_TIM_SET_COMPARE(&htim1, TIM_CHANNEL_1, -Error/4);
//		 		  }
		 	  }

}

void Average_ADC_Value() {
    uint32_t sum_adc1 = 0, sum_adc2 = 0;
    for (uint32_t i = 0; i < 5; i++) {
        sum_adc1 += ADC_RawRead[i*2];
        sum_adc2 += ADC_RawRead[i*2+1];
//        sum_adc3 += ADC_RawRead[i*3+2];
    }
    avg_adc1 = sum_adc1 / 5;
    avg_adc2 = sum_adc2 / 5;
}

void HAL_TIM_PeriodElapsedCallback(TIM_HandleTypeDef *htim)
{
  if (htim == &htim5 )
  {
	  ADCReadRaw = avg_adc2;
	  set_pos = (avg_adc1/4095.0)*360.0;
	  pos = (ADCReadRaw/4095.0)*360.0;;

	  set_pos_part2 = (avg_adc_part2/4095.0)*360.0;
	  angle_part2 =(QEIReadRaw/3072.0)*360.0;

	  Vfeedback = (arm_pid_f32(&PID, set_pos - pos)*1000);
	  Vfeedback2 = (arm_pid_f32(&PID, set_pos_part2 - angle_part2)*1000);
  }
}
void HAL_TIM_PeriodElapsedCallback2(TIM_HandleTypeDef *htim)
{
//  if (htim == &htim4 )
//  {
//	  avg_adc11= avg_adc2;
//	  	ADCgo[0] = 0x69;
//	  	ADCgo[1] =(uint8_t)(avg_adc11& 0xFF);//avg_adc11/100;
//	  	ADCgo[2] =(uint8_t)((avg_adc11>>8)& 0xFF);//avg_adc11%100;
//	  	ADCgo[3] = 0x0A;
//	  	HAL_UART_Transmit_IT(&hlpuart1, ADCgo, 4);
//	  Error = (uint16_t)(RxBuffer[2]<< 8) + (uint8_t)(RxBuffer[1]);
//	  Error_angle = (Error/32676.0)*360.0;
//  }
}
//////UART/////
//adc & 0xFF;
//adc>>8 & oxFF

uint64_t micros()
{
return __HAL_TIM_GET_COUNTER(&htim2)+_micros;
}

void Adc_to_Matlab(){
	avg_adc11= avg_adc2;
	ADCgo[0] = 0x69;
	ADCgo[1] =(uint8_t)(avg_adc11& 0xFF);//avg_adc11/100;
	ADCgo[2] =(uint8_t)((avg_adc11>>8)& 0xFF);//avg_adc11%100;
	ADCgo[3] = 0x0A;
	HAL_UART_Transmit_IT(&hlpuart1, ADCgo, 4);

}
//void HAL_TIM_PeriodElapsedCallback2(TIM_HandleTypeDef *htim){
//	if(htim == &htim4){
//
//		avg_adc11= avg_adc2;
//		ADCgo[0] = 0x69;
//		ADCgo[1] =(uint8_t)(avg_adc11& 0xFF);//avg_adc11/100;
//		ADCgo[2] =(uint8_t)((avg_adc11>>8)& 0xFF);//avg_adc11%100;
//		ADCgo[3] = 0x0A;
//		HAL_UART_Transmit_IT(&hlpuart1, ADCgo, 4);
//	}
//}
void UARTInterruptConfig()
{
	HAL_UART_Receive_IT(&hlpuart1, RxBuffer, 4);

}

void HAL_UART_RxCpltCallback(UART_HandleTypeDef *huart)
{

//	if(huart == &hlpuart1)
//	{
//		RxBuffer[4] = '\0';
//		HAL_UART_Receive_IT(&hlpuart1, RxBuffer, 4);
//	}
}
//void UARTDMAConfig()
//{
//	HAL_UART_Receive_DMA(&hlpuart1, RxBuffer, 8);
//	HAL_UART_Receive_DMA(huart, pData, Size)
	////Matlab to ADC//////
//	uint8_t a = 0x08
//	uint8_tint b = 0x06
//	c = (uint16_t)(RxBuffer[6]<< 8) + (uint8_t)(RxBuffer[5]);
//	c = (RxBuffer[6] & 0x0F) + ((RxBuffer[5] & 0x0F) << 4 );
//	z = RxBuffer[5]+RxBuffer[6];

/* USER CODE END 4 */

void Error_Handler(void)
{
  __disable_irq();
  while (1)
  {
  }
}
